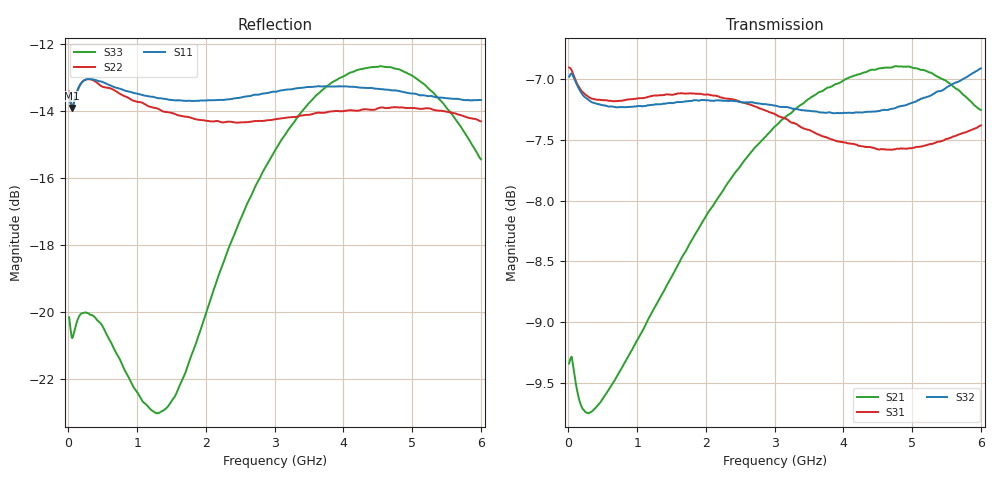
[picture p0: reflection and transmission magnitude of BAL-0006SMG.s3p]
! MARKI MICROWAVE INC.
! Email:  info@markimicrowave.com  Phone:  408-778-4200
! Model Number:  BAL-0006SMG  Date:  12/12
! Filename:		BAL-0006SMG.S3P  Version: 1.0
! Description:  3-port S-parameter data for Balun BAL-0006SMG
! Frequency Range: 	10 MHz to 6 GHz
! Port Configuration:	PORT 1: OUTPUT (0 DEGREE), PORT 2: OUTPUT (180 DEGREE), PORT 3:COMMON
! S3P File: Measurements: Mag<S11> Ang<S11> Mag<S12> Ang<S12> Mag<S13> Ang<S13>! row 1
!  Mag<S21> Ang<S21> Mag<S22> Ang<S22> Mag<S23> Ang<S23>! row 2
!  Mag<S31> Ang<S31> Mag<S32> Ang<S32> Mag<S33> Ang<S33>! row 3
# Hz S  dB  R 50
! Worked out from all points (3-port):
!   801 points, 10 MHz to 6 GHz, reference 50 ohm
!   strongest paths, dB at 10 MHz, 1.508 GHz, 3.005 GHz, 4.503 GHz, 6 GHz:
!     S32: -7.0, -7.2, -7.2, -7.3, -6.9
!     S31: -6.9, -7.1, -7.3, -7.6, -7.4
!     S21: -9.3, -8.6, -7.4, -6.9, -7.3
!   lowest |S11| = -13.9 dB at 47.44 MHz (marker M1), VSWR 1.50, Z = 33.3 + j1.51 ohm
!   |S11| at or under -10 dB: start of sweep to end of sweep
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1e7  -13.56 166.4  -9.33 5.0  -6.90 -0.7
     -9.34 4.4  -13.43 165.5  -6.95 179.7
     -6.91 0.2  -6.98 -179.0  -20.15 165.0
4.74375e7  -13.92 173.8  -9.30 -2.5  -6.92 -4.2
           -9.28 -2.5  -13.90 173.2  -6.93 175.9
           -6.93 -4.4  -6.95 175.7  -20.75 173.4
9.609125e8  -13.47 104.6  -9.19 -65.7  -7.16 -86.0
            -9.19 -65.7  -13.71 101.5  -7.21 92.5
            -7.16 -85.8  -7.23 92.6  -22.28 126.1
1.851925e9  -13.70 39.8  -8.27 -131.7  -7.12 -166.0
            -8.27 -131.6  -14.25 35.4  -7.17 11.7
            -7.12 -165.9  -7.18 11.8  -20.95 107.6
2.361075e9  -13.65 4.4  -7.83 -171.0  -7.17 147.9
            -7.82 -170.9  -14.33 -0.3  -7.17 -34.5
            -7.17 148.1  -7.18 -34.5  -17.94 79.5
3.005e9  -13.43 -39.5  -7.40 138.2  -7.28 89.8
         -7.39 138.3  -14.25 -43.3  -7.20 -92.8
         -7.29 89.9  -7.22 -92.7  -15.18 30.7
3.858575e9  -13.28 -93.3  -7.06 70.0  -7.49 13.4
            -7.05 70.1  -14.01 -95.2  -7.26 -169.4
            -7.50 13.7  -7.28 -169.1  -13.12 -39.9
4.644762e9  -13.37 -139.4  -6.92 6.6  -7.58 -56.5
            -6.91 6.7  -13.92 -140.1  -7.24 121.0
            -7.58 -56.2  -7.26 121.1  -12.70 -104.9
5.266225e9  -13.56 -172.6  -6.97 -44.0  -7.53 -111.8
            -6.95 -43.9  -13.94 -173.5  -7.11 66.0
            -7.53 -111.5  -7.14 66.2  -13.39 -152.6
6e9  -13.68 151.6  -7.28 -102.8  -7.38 -177.4
     -7.26 -102.7  -14.31 148.6  -6.89 1.2
     -7.38 -177.0  -6.91 1.4  -15.44 160.1
